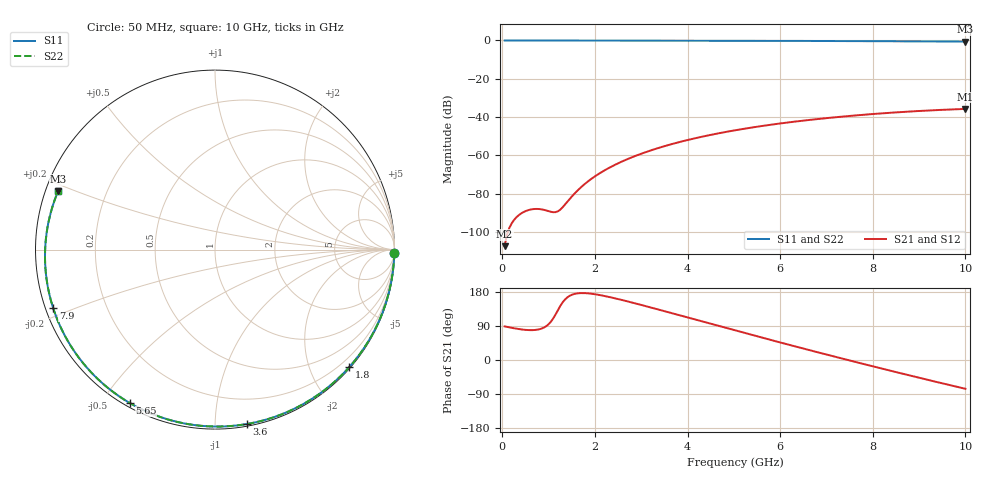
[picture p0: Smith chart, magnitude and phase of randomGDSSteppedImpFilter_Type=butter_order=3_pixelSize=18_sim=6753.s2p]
! freq	dB(S11)	phase(S11)	dB(S12)	phase(S12)
!  dB(S21)	phase(S21)	dB(S22)	phase(S22)
!S-par simulation data
#  GHz  S  DB  R 50
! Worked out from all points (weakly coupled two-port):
!   200 points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, 50 MHz to 10 GHz, reference 50 ohm
!   highest |S21| = -35.76 dB at 10 GHz (marker M1); lowest = -107.5 dB at 50 MHz (marker M2)
!   lowest |S11| = -0.6 dB at 10 GHz (marker M3), VSWR 28.81, Z = 1.79 + j8.97 ohm
!   |S11| at or under -10 dB: nowhere
!   |S22| runs from -0.6 to 0.0 dB; largest |S21 - S12| = 0
!   S11 on the Smith chart (normalised r, x): 50 MHz: open; 1.8 GHz: 0.02, -2.66; 3.6 GHz: 0.01, -1.20; 5.65 GHz: 0.02, -0.59; 7.9 GHz: 0.02, -0.18; 10 GHz: 0.04, +0.18
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0.05  -0.00 -1.1  -107.45 88.7  -107.45 88.7  -0.00 -1.1
0.45  -0.02 -10.5  -89.74 80.1  -89.74 80.1  -0.02 -10.5
0.8  -0.02 -18.6  -88.07 81.1  -88.07 81.1  -0.02 -18.6
1.55  -0.05 -35.7  -80.23 174.1  -80.23 174.1  -0.05 -35.7
1.75  -0.05 -40.1  -75.59 176.6  -75.59 176.6  -0.05 -40.1
1.8  -0.05 -41.2  -74.58 176.4  -74.58 176.4  -0.05 -41.2
2.1  -0.06 -47.9  -69.42 171.5  -69.42 171.5  -0.06 -47.9
2.45  -0.07 -55.5  -64.76 162.3  -64.76 162.3  -0.07 -55.5
2.9  -0.08 -65.1  -60.07 148.5  -60.07 148.5  -0.08 -65.1
3.4  -0.10 -75.5  -55.95 132.2  -55.95 132.2  -0.10 -75.5
3.6  -0.11 -79.5  -54.53 125.6  -54.53 125.6  -0.11 -79.5
4.3  -0.13 -93.5  -50.34 102.2  -50.34 102.2  -0.13 -93.5
5.05  -0.16 -107.9  -46.82 77.3  -46.82 77.3  -0.16 -107.9
5.65  -0.20 -119.1  -44.53 57.6  -44.53 57.6  -0.20 -119.1
6.15  -0.23 -128.3  -42.89 41.4  -42.89 41.4  -0.23 -128.3
6.7  -0.26 -138.3  -41.33 23.9  -41.33 23.9  -0.26 -138.3
7.3  -0.31 -149.1  -39.87 5.0  -39.87 5.0  -0.31 -149.1
7.9  -0.37 -160.1  -38.62 -13.6  -38.62 -13.6  -0.37 -160.1
8.35  -0.41 -168.4  -37.82 -27.3  -37.82 -27.3  -0.41 -168.4
8.8  -0.46 -176.8  -37.12 -40.8  -37.12 -40.8  -0.46 -176.8
9.2  -0.51 175.6  -36.59 -52.7  -36.59 -52.7  -0.51 175.6
10  -0.60 159.6  -35.76 -76.0  -35.76 -76.0  -0.60 159.6
